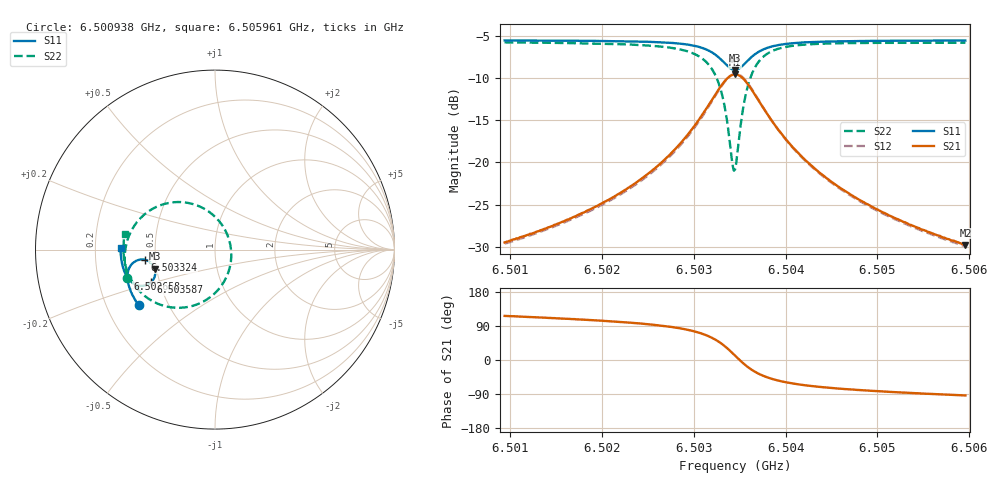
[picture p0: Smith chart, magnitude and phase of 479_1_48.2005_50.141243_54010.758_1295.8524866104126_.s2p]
#  HZ  S  RI  R  50.00
! Rohde & Schwarz Vector Network Analyzer
! Rohde-Schwarz,ZNB20-2Port,1311601062101988,3.16
! Created: UTC 3/20/2024, 11:57:34 AM
! freq[Hz]  re:S11  im:S11  re:S21  im:S21  re:S12  im:S12  re:S22  im:S22
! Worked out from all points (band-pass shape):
!   401 points, 6.500938 GHz to 6.505961 GHz, reference 50 ohm
!   highest |S21| = -9.58 dB at 6.503449 GHz (marker M1); lowest = -29.8 dB at 6.505961 GHz (marker M2)
!   |S21| within 3 dB of the highest: 6.503199 GHz to 6.503701 GHz (501.8 kHz wide, 0.00772 % of centre)
!   lowest |S11| = -9.1 dB at 6.503449 GHz (marker M3), VSWR 2.09, Z = 24.4 - j5.92 ohm
!   |S11| at or under -10 dB: nowhere
!   |S22| runs from -21.0 to -5.8 dB; largest |S21 - S12| = 0.011
!   S11 on the Smith chart (normalised r, x): 6.500938 GHz: 0.34, -0.29; 6.502658 GHz: 0.33, -0.14; 6.503324 GHz: 0.44, -0.06; 6.503587 GHz: 0.45, -0.19; 6.505961 GHz: 0.31, +0.01
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6.5009379e9  -0.4256 -0.3105  -0.0149 0.0301  -0.0133 0.0302  -0.489 -0.1564
6.5017792e9  -0.4619 -0.2484  -0.0143 0.0479  -0.012 0.0474  -0.5025 -0.0671
6.5022438e9  -0.4784 -0.2074  -0.0113 0.0673  -0.00843 0.0662  -0.4996 -0.00123
6.5026205e9  -0.4873 -0.1657  -0.00226 0.0967  0.0012 0.0945  -0.4803 0.0741
6.5026582e9  -0.4877 -0.1607  -0.000516 0.101  0.00296 0.0985  -0.4765 0.0835
6.5029344e9  -0.4838 -0.1179  0.0262 0.1434  0.0298 0.1393  -0.421 0.1694
6.5031228e9  -0.4623 -0.0796  0.0805 0.1857  0.0828 0.1797  -0.3174 0.2422
6.5032358e9  -0.4297 -0.0587  0.1497 0.2035  0.1504 0.1976  -0.1924 0.2649
6.5033237e9  -0.3891 -0.057  0.2297 0.1874  0.2297 0.1827  -0.0546 0.2246
6.5033613e9  -0.3696 -0.0647  0.2662 0.1643  0.267 0.1602  0.00584 0.1776
6.5034241e9  -0.3424 -0.0916  0.3144 0.1  0.3172 0.0957  0.0788 0.0538
6.5034492e9  -0.336 -0.1063  0.3248 0.0675  0.3283 0.0623  0.0901 -0.00679
6.5034743e9  -0.333 -0.1221  0.3285 0.0336  0.3323 0.0271  0.0883 -0.0688
6.5035371e9  -0.3399 -0.1598  0.3103 -0.0451  0.3128 -0.0546  0.0326 -0.2054
6.5035874e9  -0.3565 -0.182  0.2765 -0.0912  0.2767 -0.1021  -0.0443 -0.2773
6.5037004e9  -0.4012 -0.2018  0.1915 -0.1364  0.1866 -0.1458  -0.2166 -0.3241
6.5038636e9  -0.4477 -0.1923  0.1091 -0.1331  0.1025 -0.1382  -0.3652 -0.2773
6.5040394e9  -0.4754 -0.171  0.0644 -0.1128  0.0583 -0.1151  -0.4377 -0.212
6.5042905e9  -0.4962 -0.141  0.0341 -0.0882  0.0295 -0.0889  -0.4813 -0.1395
6.5046798e9  -0.5122 -0.1004  0.0147 -0.0644  0.0113 -0.0639  -0.5044 -0.0624
6.5051318e9  -0.5214 -0.0586  0.00503 -0.0481  0.00281 -0.0476  -0.5102 0.00129
6.5059605e9  -0.5262 0.0116  -0.00198 -0.0323  -0.00342 -0.0317  -0.5026 0.0891
